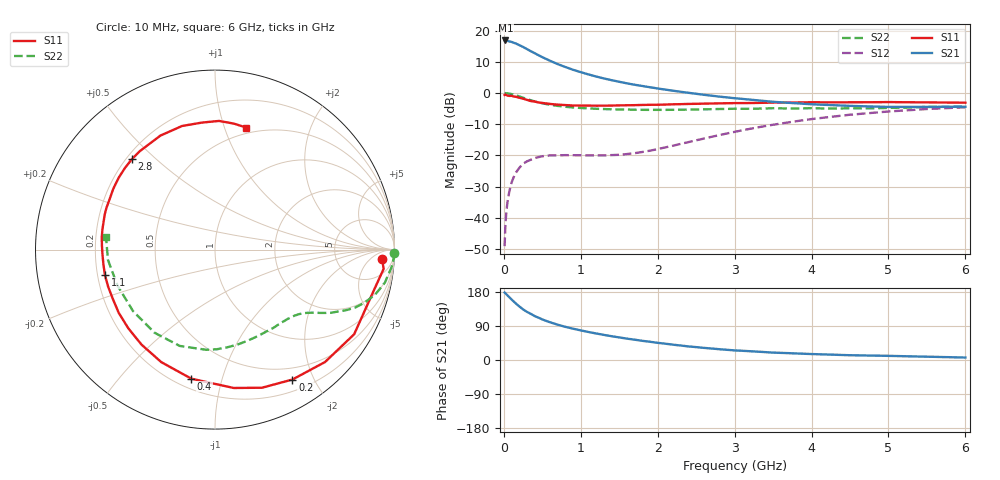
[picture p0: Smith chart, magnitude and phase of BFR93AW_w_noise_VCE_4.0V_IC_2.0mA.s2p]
! Infineon Technologies  Discrete & RF Semiconductors
! BFR93AW
! VCE =  4.0 V,  IC =  2.0 mA
! Common Emitter S-Parameters:  Jan 2017
# GHz  S  MA  R  50
!  f  S11  S21  S12  S22
! GHz  MAG  ANG  MAG  ANG  MAG  ANG  MAG  ANG
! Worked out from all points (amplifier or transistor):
!   77 points, 10 MHz to 6 GHz, reference 50 ohm
!   highest |S21| = 16.9 dB at 20 MHz (marker M1)
!   |S21| within 3 dB of that: start of sweep to 317.3 MHz
!   unconditionally stable (mu >= 1): 1.273 GHz to 2.303 GHz
!   at 130 MHz: K = 0.10, MSG = 21.5 dB, |S12| = -26.9 dB
!   at 2.2 GHz: K = 1.04, MAG = 7.6 dB, |S12| = -16.9 dB
!   at 6 GHz: K = 0.97, MSG = 0.1 dB, |S12| = -4.6 dB
!   lowest NFmin = 1.49 dB at 450 MHz
!   S11 on the Smith chart (normalised r, x): 10 MHz: 17, -14; 200 MHz: 0.34, -1.71; 400 MHz: 0.26, -0.80; 1.1 GHz: 0.23, -0.11; 2.8 GHz: 0.22, +0.42; 6 GHz: 0.44, +1.19
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0.01  0.9324 -3.3  6.898 178.1  0.0035 87.9  1 -1.1
0.02  0.9458 -6.5  6.981 176.2  0.0076 93.5  0.9981 -2.5
0.05  0.9101 -15.8  6.856 169.8  0.0187 81.1  0.9886 -5.7
0.1  0.9075 -31.3  6.619 159.7  0.0365 74.1  0.9643 -11.0
0.15  0.8765 -45.6  6.286 150.2  0.0514 65.3  0.9269 -15.7
0.2  0.8427 -59.2  5.885 141.5  0.063 59.0  0.8849 -19.5
0.25  0.813 -71.2  5.497 133.6  0.0733 53.0  0.8434 -22.6
0.3  0.778 -82.3  5.076 127.1  0.0802 48.7  0.8012 -25.0
0.4  0.731 -100.4  4.365 115.9  0.0906 41.6  0.7351 -28.6
0.5  0.6947 -115.5  3.766 107.0  0.097 36.8  0.6849 -31.0
0.6  0.6693 -127.7  3.301 99.6  0.1 33.8  0.649 -32.8
0.7  0.6523 -137.8  2.914 93.2  0.1002 32.1  0.6223 -34.5
0.9  0.632 -154.3  2.364 82.6  0.1008 31.1  0.5883 -37.8
1.1  0.6295 -167.0  1.99 73.9  0.1001 33.1  0.5677 -41.6
1.3  0.6274 -177.2  1.716 66.3  0.0999 37.5  0.5544 -45.8
1.6  0.6372 169.8  1.432 56.4  0.1051 46.8  0.5442 -53.1
2.1  0.654 152.3  1.136 43.0  0.1346 61.3  0.5377 -67.4
2.8  0.6842 132.7  0.878 28.5  0.2114 67.7  0.5552 -88.9
3.1  0.6905 125.1  0.806 24.3  0.2528 66.0  0.5594 -98.0
4.1  0.7111 103.1  0.653 15.1  0.3953 54.4  0.5682 -129.4
5.1  0.715 86.9  0.599 10.5  0.5156 38.9  0.5802 -162.9
6  0.7016 75.6  0.603 6.5  0.5922 25.4  0.6109 173.6
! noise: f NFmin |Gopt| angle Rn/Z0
0.45  1.49  0.44  71  0.2
0.9  1.76  0.41  128  0.21
1.9  3.23  0.56  -159  0.25
2.4  4.18  0.62  -139  0.45
